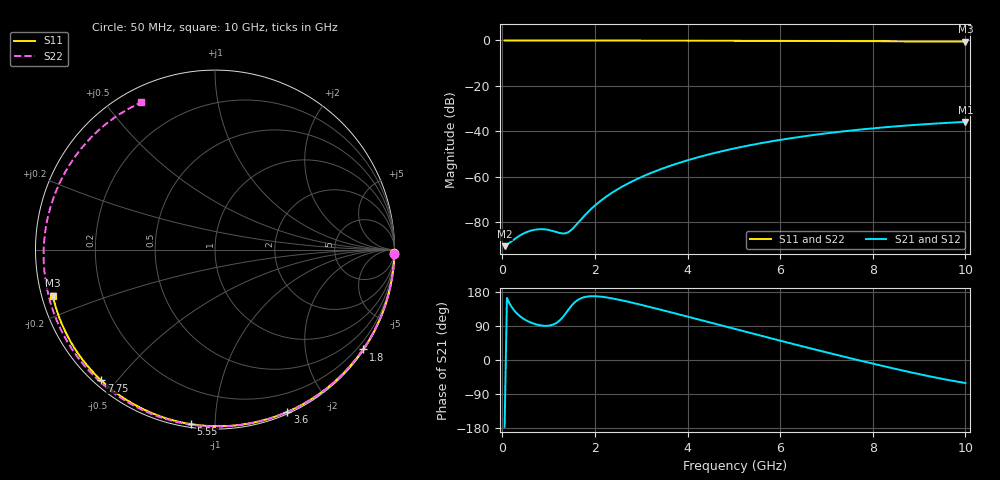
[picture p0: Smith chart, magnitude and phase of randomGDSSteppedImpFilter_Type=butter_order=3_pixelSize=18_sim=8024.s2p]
! freq	dB(S11)	phase(S11)	dB(S12)	phase(S12)
!  dB(S21)	phase(S21)	dB(S22)	phase(S22)
!S-par simulation data
#  GHz  S  DB  R 50
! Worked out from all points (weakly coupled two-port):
!   200 points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, 50 MHz to 10 GHz, reference 50 ohm
!   highest |S21| = -35.80 dB at 10 GHz (marker M1); lowest = -90.5 dB at 50 MHz (marker M2)
!   lowest |S11| = -0.5 dB at 10 GHz (marker M3), VSWR 32.15, Z = 1.59 - j6.94 ohm
!   |S11| at or under -10 dB: nowhere
!   |S22| runs from -0.8 to 0.0 dB; largest |S21 - S12| = 0
!   S11 on the Smith chart (normalised r, x): 50 MHz: open; 1.8 GHz: 0.03, -3.27; 3.6 GHz: 0.02, -1.54; 5.55 GHz: 0.02, -0.87; 7.75 GHz: 0.02, -0.46; 10 GHz: 0.03, -0.14
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0.05  -0.00 -1.0  -90.48 -176.6  -90.48 -176.6  -0.00 -1.3
0.8  -0.02 -15.3  -83.03 91.9  -83.03 91.9  -0.02 -20.4
1.6  -0.04 -30.3  -81.05 155.8  -81.05 155.8  -0.05 -40.3
1.65  -0.04 -31.2  -79.90 159.9  -79.90 159.9  -0.05 -41.5
1.75  -0.04 -33.1  -77.61 165.2  -77.61 165.2  -0.06 -44.0
1.8  -0.04 -34.0  -76.53 166.7  -76.53 166.7  -0.06 -45.2
2.1  -0.05 -39.5  -70.91 167.5  -70.91 167.5  -0.07 -52.5
2.45  -0.06 -45.8  -65.94 160.8  -65.94 160.8  -0.08 -60.8
2.9  -0.07 -53.8  -61.04 148.5  -61.04 148.5  -0.09 -71.4
3.4  -0.08 -62.5  -56.78 133.4  -56.78 133.4  -0.11 -82.9
3.6  -0.09 -66.0  -55.32 127.1  -55.32 127.1  -0.12 -87.5
4.3  -0.11 -77.8  -50.98 104.9  -50.98 104.9  -0.14 -103.1
5.05  -0.14 -89.9  -47.32 80.9  -47.32 80.9  -0.18 -119.5
5.55  -0.16 -97.8  -45.31 65.1  -45.31 65.1  -0.21 -130.4
6.15  -0.19 -107.1  -43.25 46.2  -43.25 46.2  -0.25 -143.5
6.7  -0.22 -115.4  -41.64 29.2  -41.64 29.2  -0.30 -155.7
7.25  -0.26 -123.6  -40.25 12.6  -40.25 12.6  -0.35 -168.2
7.75  -0.30 -131.0  -39.15 -2.3  -39.15 -2.3  -0.40 179.9
8.35  -0.36 -139.8  -38.03 -19.6  -38.03 -19.6  -0.48 164.9
8.8  -0.40 -146.4  -37.31 -32.0  -37.31 -32.0  -0.54 152.9
9.2  -0.44 -152.2  -36.75 -42.5  -36.75 -42.5  -0.60 141.6
10  -0.54 -164.2  -35.80 -60.6  -35.80 -60.6  -0.75 116.6
